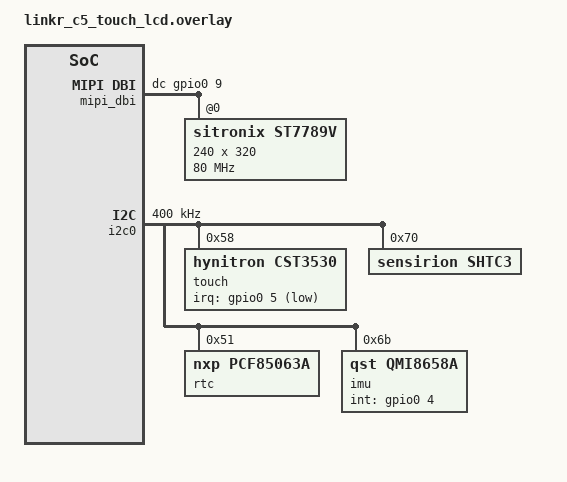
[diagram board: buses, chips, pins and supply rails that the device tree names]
/*
 * Waveshare ESP32-C5-Touch-LCD-2.8 devicetree overlay.
 *
 * Passed with -DEXTRA_DTC_OVERLAY_FILE=boards/linkr_c5_touch_lcd.overlay and
 * applied on top of esp32c5_devkitc_hpcore.dts.
 *
 * Panel wiring (from the board schematic / vendor BSP):
 *   LCD  SCLK=GPIO6  MOSI=GPIO7  DC=GPIO9  CS=GPIO10
 *        RST -> CH32V003 EXIO1, backlight -> CH32V003 PWM (I2C 0x24)
 *   Touch SDA=GPIO0  SCL=GPIO1  INT=GPIO5  RST -> CH32V003 EXIO0
 */

#include <zephyr/dt-bindings/gpio/gpio.h>
#include <zephyr/dt-bindings/pinctrl/esp32c5-pinctrl.h>
#include <zephyr/dt-bindings/pinctrl/esp32c5-gpio-sigmap.h>

/ {
	chosen {
		zephyr,display = &st7789v;
	};

	/*
	 * 2.8" IPS panel, 240x320, ST7789 controller on 4-wire SPI.
	 * spi2 already carries the right pinmux on this board family
	 * (SCLK=GPIO6, MOSI=GPIO7, CS=GPIO10 from spim2_default), so only the
	 * DC line has to be described here.
	 */
	mipi_dbi {
		compatible = "zephyr,mipi-dbi-spi";
		spi-dev = <&spi2>;
		dc-gpios = <&gpio0 9 GPIO_ACTIVE_HIGH>;
		write-only;
		#address-cells = <1>;
		#size-cells = <0>;

		st7789v: st7789v@0 {
			compatible = "sitronix,st7789v";
			reg = <0>;

			/* 80 MHz, matching the vendor reference project
			 * (14_wireless_serial_webserver sets pclk_hz = 80 MHz on
			 * the same panel and flex cable). A full 240x320 RGB565
			 * frame is 153600 bytes: 15.4 ms here versus 61 ms at
			 * 20 MHz, i.e. a 65 fps ceiling instead of 16 fps.
			 *
			 * The earlier "40 MHz shows ghosting" note was written
			 * while the panel init parameters were still being
			 * validated; the reference BSP proves the link itself is
			 * fine at 80 MHz. If ghosting or colour fringing does
			 * appear, step down to 60, then 40 MHz.
			 */
			mipi-max-frequency = <DT_FREQ_M(80)>;

			width = <240>;
			height = <320>;
			x-offset = <0>;
			y-offset = <0>;
			vcom = <0x35>;
			gctrl = <0x35>;
			vrhs = <0x12>;
			vdvs = <0x20>;
			mdac = <0x00>;
			gamma = <0x01>;
			colmod = <0x55>;
			lcm = <0x2c>;
			porch-param = [0c 0c 00 33 33];
			cmd2en-param = [5a 69 02 01];
			pwctrl1-param = [a4 a1];
			pvgam-param = [d0 08 11 08 0c 15 39 33 50 36 13 14 29 2d];
			nvgam-param = [d0 08 11 08 0c 15 39 33 50 36 13 14 29 2d];
			ram-param = [00 c0];
			rgb-param = [00 00 00];
			mipi-mode = "MIPI_DBI_MODE_SPI_4WIRE";
			/* The vendor BSP calls esp_lcd_panel_invert_color(true),
			 * so the driver's default inversion stays enabled here:
			 * do NOT add "inversion-off".
			 */
		};
	};
};

/* 8 MB PSRAM populated on the module (devkit dtsi declares 4 MB). */
&psram0 {
	size = <DT_SIZE_M(8)>;
};

/*
 * LVGL rendering buffers and its object heap are relocated into PSRAM by a
 * dedicated linker fragment (boards/linkr_c5_lvgl_psram.ld), not by a
 * devicetree memory-region: the ESP32-C5 linker script never calls
 * LINKER_DT_REGIONS(), so 'zephyr,memory-region' nodes generate no MEMORY
 * area and the sections would become orphans.
 *
 * The fragment pins .lvgl_buf/.lvgl_heap above the shared multi heap, which
 * starts at the mapped-PSRAM base (0x420E0000) and spans
 * CONFIG_ESP_SPIRAM_HEAP_SIZE. The linker's own .ext_ram.bss section lives at
 * that same base address, so reusing it for LVGL would overlap the heap.
 */

/*
 * The shared C5 board overlay defines two gpio-keys nodes: pairing on GPIO1
 * and factory reset on GPIO28. Nothing on this board consumes them, so the
 * "disabled" overrides that used to sit here were removed:
 *
 *   - CONFIG_INPUT is off, so input-gpio-keys is not built and no driver
 *     binds to either node; the overrides had no effect;
 *   - the pairing key is physically unreachable here (GPIO1 is the touch
 *     I2C clock), and pairing is authorized from the panel's PAIR button
 *     instead (CONFIG_LINKR_BLE_PAIRING_AUTH_TOUCH);
 *   - the factory-reset pin is read directly by main.c's GPIO code, not
 *     through the input subsystem.
 *
 * The nodes themselves must stay: their linkr-pairing / linkr-factory-reset
 * aliases are compiled unconditionally into ble_security.c and main.c.
 *
 * Re-enabling CONFIG_INPUT would make input-gpio-keys demand a zephyr,code
 * property on both keys -- add one, or disable the two nodes again.
 */

/*
 * Board I2C bus: SDA=GPIO0, SCL=GPIO1.
 * The devkit pinmux defaults to GPIO6/GPIO7, which the LCD uses for SPI, so
 * the bus must be moved before any device (touch, sensors, expander) is added.
 */
&pinctrl {
	i2c0_board: i2c0_board {
		group1 {
			pinmux = <I2C0_SDA_GPIO0>, <I2C0_SCL_GPIO1>;
			bias-pull-up;
			drive-open-drain;
			output-high;
		};
	};
};

&i2c0 {
	pinctrl-0 = <&i2c0_board>;
	pinctrl-names = "default";
	clock-frequency = <I2C_BITRATE_FAST>;
	status = "okay";

	/* Capacitive touch controller. Its reset line is driven by the
	 * CH32V003 expander (board_io.c), not by a GPIO.
	 */
	touch: touch@58 {
		compatible = "hynitron,cst3530";
		reg = <0x58>;
		irq-gpios = <&gpio0 5 GPIO_ACTIVE_LOW>;
		x-max = <240>;
		y-max = <320>;
		status = "okay";
	};

	/* Sensirion SHTC3 temperature/humidity sensor. */
	shtc3: humidity@70 {
		compatible = "sensirion,shtc3", "sensirion,shtcx";
		reg = <0x70>;
		/* Required by the binding; SHTC3 supports both modes. */
		measure-mode = "normal";
		status = "okay";
	};

	/* NXP PCF85063A real-time clock. */
	rtc: rtc@51 {
		compatible = "nxp,pcf85063a";
		reg = <0x51>;
		status = "okay";
	};

	/* QST QMI8658A 6-axis IMU. The board straps the address select high
	 * (vendor BSP uses QMI8658_ADDRESS_HIGH = 0x6b) and wires INT1 to
	 * GPIO4, while the binding defaults to INT2 (int-pin = 2).
	 */
	imu: imu@6b {
		compatible = "qst,qmi8658a";
		reg = <0x6b>;
		int-gpios = <&gpio0 4 GPIO_ACTIVE_HIGH>;
		int-pin = <1>;
		status = "okay";
	};
};
